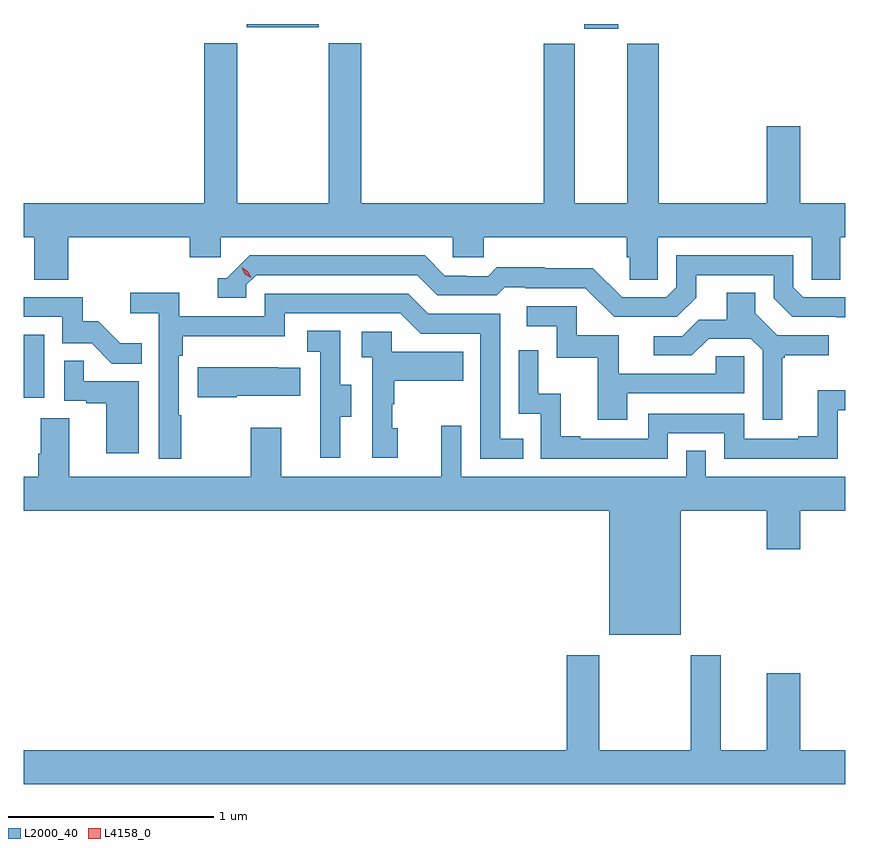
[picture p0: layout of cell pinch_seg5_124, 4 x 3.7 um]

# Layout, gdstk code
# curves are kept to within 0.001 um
import gdstk
lib = gdstk.Library(unit=1e-6, precision=1e-09)
def R(c, l, rs):  # rectangles x0, y0, x1, y1
    for r in rs: c.add(gdstk.rectangle(r[:2], r[2:], *l))
def P(c, l, *ps):  # polygons
    for p in ps: c.add(gdstk.Polygon(p, *l))
L2000_40 = (2000, 40)
L4158_0 = (4158, 0)

pinch_seg5_124 = lib.new_cell('pinch_seg5_124')
R(pinch_seg5_124, L2000_40, [(1072.478,889.278,1072.576,889.585), (1075.208,891.075,1075.372,891.098), (1073.564,891.083,1073.914,891.098)])
P(pinch_seg5_124, L2000_40, [(1072.694,890.06),(1073.285,890.06),(1073.285,889.962),(1073.436,889.962),(1073.436,890.06),(1074.567,890.06),(1074.567,889.962),(1074.717,889.962),(1074.717,890.06),(1075.415,890.06),(1075.415,889.962),(1075.429,889.962),(1075.429,889.852),(1075.566,889.852),(1075.566,890.06),(1076.316,890.06),(1076.316,889.852),(1076.455,889.852),(1076.455,890.06),(1076.478,890.06),(1076.478,890.224),(1076.26,890.224),(1076.26,890.599),(1076.096,890.599),(1076.096,890.224),(1075.571,890.224),(1075.571,891.003),(1075.418,891.003),(1075.418,890.224),(1075.162,890.224),(1075.162,891.003),(1075.01,891.003),(1075.01,890.224),(1074.122,890.224),(1074.122,891.004),(1073.962,891.004),(1073.962,890.224),(1073.517,890.224),(1073.517,891.004),(1073.357,891.004),(1073.357,890.224),(1072.478,890.224),(1072.478,890.06),(1072.529,890.06),(1072.529,889.852),(1072.694,889.852)],
  [(1076.478,889.767),(1076.274,889.767),(1076.226,889.815),(1076.226,889.971),(1075.656,889.971),(1075.656,889.815),(1075.608,889.767),(1075.392,889.767),(1075.25,889.909),(1075.014,889.909),(1075.014,889.912),(1074.781,889.912),(1074.739,889.869),(1074.636,889.869),(1074.636,889.872),(1074.529,889.872),(1074.43,889.971),(1073.577,889.971),(1073.466,889.86),(1073.423,889.86),(1073.423,889.764),(1073.562,889.764),(1073.562,889.827),(1073.61,889.875),(1074.393,889.875),(1074.492,889.776),(1074.781,889.776),(1074.82,889.815),(1074.919,889.815),(1074.919,889.812),(1075.212,889.812),(1075.353,889.671),(1075.659,889.671),(1075.753,889.765),(1075.753,889.875),(1076.13,889.875),(1076.13,889.761),(1076.22,889.671),(1076.478,889.67)],
  [(1076.173,889.473),(1076.185,889.473),(1076.185,889.484),(1076.398,889.484),(1076.398,889.581),(1076.148,889.581),(1076.041,889.688),(1076.041,889.79),(1075.901,889.79),(1075.901,889.658),(1075.766,889.658),(1075.686,889.578),(1075.545,889.578),(1075.545,889.485),(1075.732,889.485),(1075.813,889.566),(1076.019,889.566),(1076.076,889.509),(1076.076,889.17),(1076.173,889.17)],
  [(1073.245,889.193),(1073.232,889.193),(1073.232,889.481),(1073.252,889.481),(1073.252,889.577),(1073.748,889.577),(1073.748,889.689),(1074.312,889.689),(1074.411,889.59),(1074.702,889.59),(1074.702,888.981),(1074.911,888.981),(1074.911,889.077),(1074.798,889.077),(1074.798,889.686),(1074.448,889.686),(1074.349,889.785),(1073.652,889.785),(1073.652,889.674),(1073.234,889.674),(1073.234,889.79),(1072.995,889.79),(1072.995,889.688),(1073.136,889.688),(1073.136,888.981),(1073.245,888.981)],
  [(1073.051,889.543),(1072.947,889.543),(1072.84,889.65),(1072.764,889.65),(1072.764,889.767),(1072.478,889.767),(1072.478,889.671),(1072.665,889.671),(1072.665,889.542),(1072.809,889.542),(1072.907,889.444),(1073.051,889.444)],
  [(1075.417,889.299),(1075.986,889.299),(1075.986,889.479),(1075.849,889.479),(1075.849,889.395),(1075.375,889.395),(1075.375,889.581),(1075.17,889.581),(1075.17,889.722),(1074.927,889.722),(1074.927,889.626),(1075.074,889.626),(1075.074,889.473),(1075.273,889.473),(1075.273,889.17),(1075.417,889.17)],
  [(1074.019,889.186),(1074.073,889.186),(1074.073,889.341),(1074.018,889.341),(1074.018,889.604),(1073.859,889.604),(1073.859,889.501),(1073.922,889.501),(1073.922,889.197),(1073.921,889.197),(1073.921,888.984),(1074.019,888.984)],
  [(1074.298,889.128),(1074.273,889.128),(1074.273,889.247),(1074.283,889.247),(1074.283,889.361),(1074.617,889.361),(1074.617,889.501),(1074.27,889.501),(1074.27,889.599),(1074.123,889.599),(1074.123,889.475),(1074.174,889.475),(1074.174,888.984),(1074.298,888.984)],
  [(1075.614,889.104),(1075.89,889.104),(1075.89,888.981),(1076.442,888.981),(1076.442,889.217),(1076.478,889.217),(1076.478,889.315),(1076.345,889.315),(1076.345,889.09),(1076.249,889.09),(1076.249,889.077),(1075.986,889.077),(1075.986,889.2),(1075.518,889.2),(1075.518,889.077),(1075.189,889.077),(1075.189,889.09),(1075.094,889.09),(1075.094,889.298),(1074.984,889.298),(1074.984,889.51),(1074.888,889.51),(1074.888,889.2),(1074.996,889.2),(1074.996,888.981),(1075.614,888.981)],
  [(1073.038,889.359),(1072.769,889.359),(1072.769,889.457),(1072.674,889.457),(1072.674,889.263),(1072.781,889.263),(1072.781,889.251),(1072.88,889.251),(1072.88,889.008),(1073.038,889.008)],
  [(1073.515,889.286),(1073.825,889.286),(1073.825,889.423),(1073.717,889.423),(1073.717,889.426),(1073.324,889.426),(1073.324,889.279),(1073.515,889.279)],
  [(1075.678,888.728),(1076.096,888.728),(1076.096,888.54),(1076.26,888.54),(1076.26,888.728),(1076.478,888.728),(1076.478,888.892),(1075.8,888.892),(1075.8,889.019),(1075.704,889.019),(1075.704,888.892),(1074.609,888.892),(1074.609,889.141),(1074.512,889.141),(1074.512,888.892),(1073.731,888.892),(1073.731,889.132),(1073.584,889.132),(1073.584,888.892),(1072.699,888.892),(1072.699,889.178),(1072.559,889.178),(1072.559,889.004),(1072.547,889.004),(1072.547,888.892),(1072.478,888.892),(1072.478,888.728),(1075.328,888.728),(1075.328,888.122),(1075.678,888.122)],
  [(1076.478,887.56),(1076.26,887.56),(1076.26,887.935),(1076.096,887.935),(1076.096,887.56),(1075.873,887.56),(1075.873,888.022),(1075.726,888.022),(1075.726,887.56),(1075.281,887.56),(1075.281,888.022),(1075.121,888.022),(1075.121,887.56),(1072.478,887.56),(1072.478,887.396),(1076.478,887.396)])
P(pinch_seg5_124, L4158_0, [(1073.585,889.861),(1073.554,889.88),(1073.538,889.912),(1073.538,889.912),(1073.538,889.912),(1073.569,889.893),(1073.585,889.861),(1073.585,889.861)])

lib.write_gds('pinch_seg5_124.gds')
